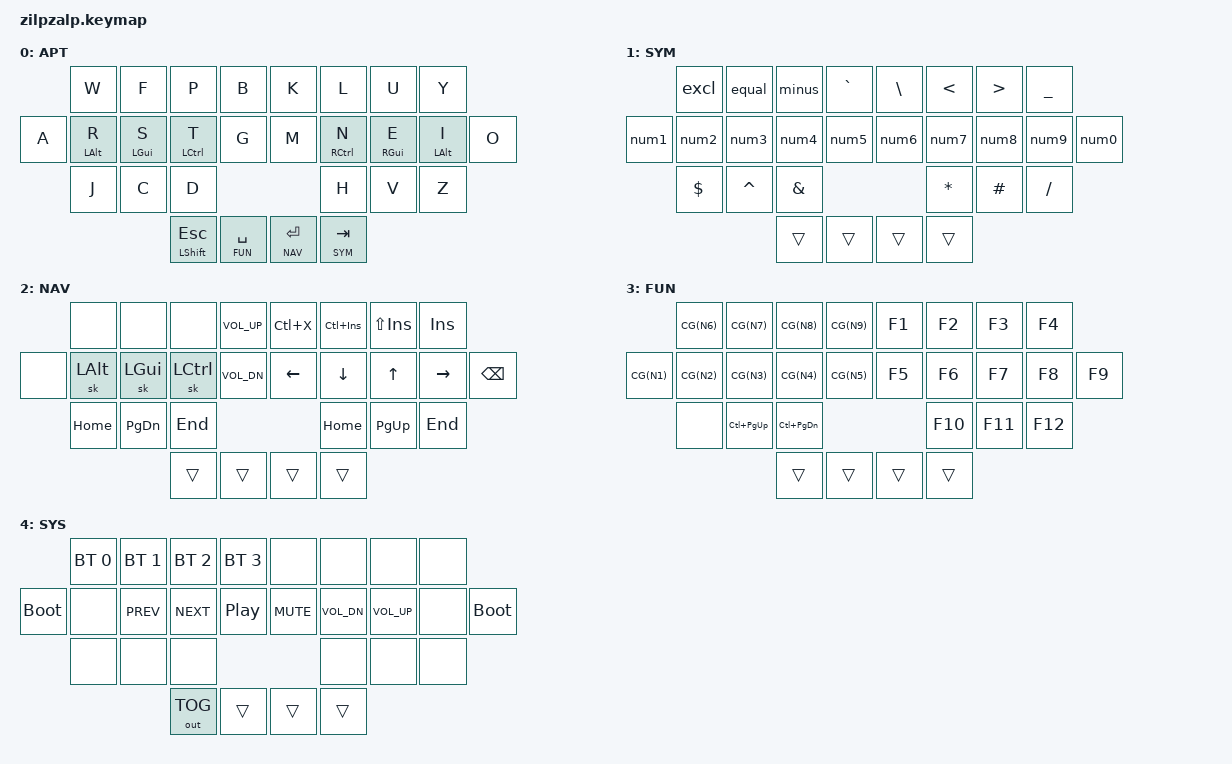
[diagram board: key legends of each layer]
#include <behaviors.dtsi>
#include <dt-bindings/zmk/keys.h>
#include <dt-bindings/zmk/rgb.h>
#include <dt-bindings/zmk/bt.h>
#include <dt-bindings/zmk/outputs.h>

#define TAPPING_TERM 200
#define TAPPING_IDLE 140
#define QUICK_TAP 100
#define OTHER_QUICK_TAP 150

#define COMBO_IDLE 50
#define COMBO_TERM 25

#define BASE 0
#define SYM 1
#define NAV 2
#define FUN 3
#define SYS 4

#define CG(x) LG(LC(x))

#define SHIFT_OVERRIDE(KEY1, KEY2) \
    override_##KEY1 { \
        compatible = "zmk,behavior-mod-morph";\
        #binding-cells = <0>;\
        bindings = <&kp KEY1>, <&kp KEY2>;\
        mods = <(MOD_LSFT)>;\
    }

#define NUM(KC, NUMBER) shift_morph_##KC_##NUMBER: SHIFT_OVERRIDE(KC, NUMBER)
    
#define COMBO(NAME, KEY, POS) combo_##NAME { key-positions = <POS>; bindings = <KEY>; require-prior-idle-ms = <COMBO_IDLE>; timeout-ms = <COMBO_TERM>; layers = <BASE SYM>;}

#define LEFT_AND_THUMBS 0 1 2 3 8 9 10 11 12 18 19 20 24 25 26 27
#define RIGHT_AND_THUMBS 4 5 6 7 13 14 15 16 17 21 22 23 24 25 26 27


/ {
    behaviors {
        hl: homerow_mods_left {
            compatible = "zmk,behavior-hold-tap";
            #binding-cells = <2>;
            bindings = <&kp>, <&kp>;
            flavor = "balanced";
            tapping-term-ms = <TAPPING_TERM>;
            require-prior-idle-ms = <TAPPING_IDLE>;
            quick-tap-ms = <QUICK_TAP>;
            hold-trigger-on-release;
            hold-trigger-key-positions = <RIGHT_AND_THUMBS>;
        };
        hr: homerow_mods_right {
            compatible = "zmk,behavior-hold-tap";
            #binding-cells = <2>;
            bindings = <&kp>, <&kp>;
            flavor = "balanced";
            tapping-term-ms = <TAPPING_TERM>;
            require-prior-idle-ms = <TAPPING_IDLE>;
            quick-tap-ms = <QUICK_TAP>;
            hold-trigger-on-release;
            hold-trigger-key-positions = <LEFT_AND_THUMBS>;
        };
        qmt: quick_mod_tap {
            compatible = "zmk,behavior-hold-tap";
            #binding-cells = <2>;
            flavor = "hold-preferred";
            bindings = <&kp>, <&kp>;
            tapping-term-ms = <TAPPING_TERM>;
            quick-tap-ms = <150>;
            hold-trigger-on-release;
        };
        blt: balanced_layer_tap {
            compatible = "zmk,behavior-hold-tap";
            #binding-cells = <2>;
            bindings = <&mo>, <&kp>;
            flavor = "balanced";
            tapping-term-ms = <TAPPING_TERM>;
            require-prior-idle-ms = <TAPPING_IDLE>;
            quick-tap-ms = <QUICK_TAP>;
            hold-trigger-on-release;
        };
        qlt: quick_layer_tab {
            compatible = "zmk,behavior-hold-tap";
            #binding-cells = <2>;
            bindings = <&mo>, <&kp>;
            flavor = "hold-preferred";
            tapping-term-ms = <TAPPING_TERM >;
            quick-tap-ms = <150>;
            hold-trigger-on-release;
        };
        qsk: quick_sticky_key {
            compatible = "zmk,behavior-sticky-key";
            #binding-cells = <1>;
            bindings = <&kp>;
            release-after-ms = <1000>;
            quick-release;
            ignore-modifiers;
            lazy;
        };
    };

    conditional_layers {
        compatible = "zmk,conditional-layers";
        sys_layer {
            if-layers = <NAV FUN>;
            then-layer = <SYS>;
        };
    };

    combos {
        compatible = "zmk,combos";
        COMBO(ralt1,&qsk RALT, 18 19);  // J C
        COMBO(ralt2,&qsk RALT, 22 23);  // , . 
        COMBO(q,&kp Q, 0 1);            // W F
        COMBO(x,&kp X, 6 7);            // U Y
        COMBO(dot,&dot, 19 20);         // C D
        COMBO(comma,&comm, 21 22);     // H V
        COMBO(tmux2,&kp LC(S), 5 6 );   // L U
        COMBO(tmux1,&kp LC(S), 1 2 );   // F P
    };

    // Numbers 
    num1: SHIFT_OVERRIDE(SQT , N1);
    num2: SHIFT_OVERRIDE(LBKT, N2);
    num3: SHIFT_OVERRIDE(LBRC, N3);
    num4: SHIFT_OVERRIDE(LPAR, N4);
    num5: SHIFT_OVERRIDE(PRCNT,N5);
    num6: SHIFT_OVERRIDE(AT   ,N6);
    num7: SHIFT_OVERRIDE(RPAR, N7);
    num8: SHIFT_OVERRIDE(RBRC, N8);
    num9: SHIFT_OVERRIDE(RBKT, N9);
    num0: SHIFT_OVERRIDE(DQT , N0);

    comm: SHIFT_OVERRIDE(COMMA, SEMI);
    dot: SHIFT_OVERRIDE(DOT, COLON);

    minus: SHIFT_OVERRIDE(MINUS, MINUS);
    equal: SHIFT_OVERRIDE(EQUAL, EQUAL);
    excl: SHIFT_OVERRIDE(EXCL, PLUS);



// zilpzalp key numbers
//     __________________________  __________________________
//    /     0  |  1  |  2  |  3  \/   4 |   5 |   6 |   7    \
// |  8  |  9  | 10  | 11  | 12  /\  13 |  14 |  15 |  16 | 17  |
//    \    18  | 19  | 20    /        \    21 |  22 |  23   /
//          \    24  | 25  /            \  26 |  27    /
//           --------------              --------------

    keymap {
        compatible = "zmk,keymap";
        aptmak {
            label = "APT";

            bindings = <
                               &kp W          &kp F          &kp P          &kp B          &kp K          &kp L          &kp U          &kp Y
                &kp A          &hl LALT R     &hl LGUI S     &hl LCTRL T    &kp G          &kp M          &hr RCTRL N    &hr RGUI E     &hr LALT I     &kp O      
                               &kp J          &kp C          &kp D                                        &kp H          &kp V          &kp Z  
                                                             &qmt LSHFT ESC &blt FUN SPACE &qlt NAV RET &qlt SYM TAB  
            >;
        };
        symbols {
            label = "SYM";

            bindings = <
                               &excl          &equal         &minus           &kp GRAVE      &kp BSLH       &kp LT         &kp GT         &kp UNDER
                &num1          &num2          &num3          &num4            &num5          &num6          &num7          &num8          &num9          &num0     
                               &kp DOLLAR     &kp CARET      &kp AMPS                                       &kp STAR       &kp HASH       &kp FSLH     
                                                             &trans           &trans         &trans         &trans
            >;
        };
        navigation {
            label = "NAV";

            bindings = <
                               &none          &none          &none           &kp C_VOL_UP   &kp LC(X)      &kp LC(INSERT) &kp LS(INSERT) &kp INSERT
                &none          &sk LALT       &sk LGUI       &sk LCTRL       &kp C_VOL_DN   &kp LEFT       &kp DOWN       &kp UP         &kp RIGHT      &kp BSPC
                               &kp HOME       &kp PG_DN      &kp END                                       &kp HOME       &kp PG_UP      &kp END
                                                             &trans          &trans         &trans         &trans
            >;
        };
        function {
            label = "FUN";

            bindings = <
                               &kp CG(N6)     &kp CG(N7)     &kp CG(N8)     &kp CG(N9)     &kp F1         &kp F2         &kp F3         &kp F4
                &kp CG(N1)     &kp CG(N2)     &kp CG(N3)     &kp CG(N4)     &kp CG(N5)                    &kp F5         &kp F6         &kp F7         &kp F8         &kp F9
                               &none          &kp LC(PG_UP)  &kp LC(PG_DN)                                &kp F10        &kp F11        &kp F12
                                                             &trans         &trans         &trans         &trans
            >;
        };
        system {
            label = "SYS";

            bindings = <
                               &bt BT_SEL 0   &bt BT_SEL 1   &bt BT_SEL 2   &bt BT_SEL 3   &none          &none          &none          &none   
                &bootloader    &none          &kp C_PREV     &kp C_NEXT     &kp C_PP       &kp C_MUTE     &kp C_VOL_DN   &kp C_VOL_UP   &none          &bootloader
                               &none          &none          &none                                        &none          &none          &none   
                                                             &out OUT_TOG   &trans         &trans         &trans
            >;
        };

    };
};

